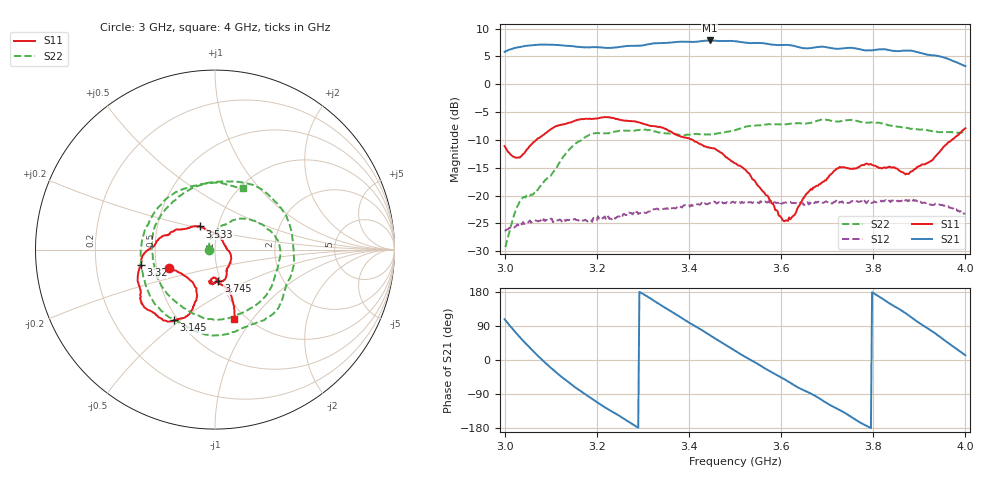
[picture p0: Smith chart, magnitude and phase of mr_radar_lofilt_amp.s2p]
!Agilent Technologies,E8358A,US40260201,A.04.06
!Agilent E8358A: A.04.06
!Date: Saturday, February 25, 2012 15:21:52
!Correction: S11(Full 2 Port SOLT,1,2) S21(Full 2 Port SOLT,1,2) S12(Full 2 Port SOLT,1,2) S22(Full 2 Port SOLT,1,2)
!S2P File: Measurements: S11, S21, S12, S22:
# Hz S  MA  R 50
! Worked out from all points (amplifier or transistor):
!   401 points, 3 GHz to 4 GHz, reference 50 ohm
!   highest |S21| = 7.9 dB at 3.445 GHz (marker M1)
!   |S21| within 3 dB of that: start of sweep to 3.951 GHz
!   unconditionally stable (mu >= 1): start of sweep to end of sweep
!   at 3.165 GHz: K = 2.75, MAG = 8.3 dB, |S12| = -24.4 dB
!   at 3.5 GHz: K = 2.12, MAG = 8.5 dB, |S12| = -21.3 dB
!   at 4 GHz: K = 3.47, MAG = 4.9 dB, |S12| = -23.2 dB
!   S11 on the Smith chart (normalised r, x): 3 GHz: 0.58, -0.13; 3.145 GHz: 0.47, -0.47; 3.32 GHz: 0.41, -0.08; 3.533 GHz: 0.82, +0.22; 3.745 GHz: 0.97, -0.35; 4 GHz: 0.88, -0.82
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3e9  0.2787 -158.1  1.958 107.6  0.04837 54.4  0.03524 -177.2
3.0325e9  0.2195 -124.8  2.159 60.9  0.05508 8.9  0.08805 96.9
3.0725e9  0.3283 -110.6  2.268 10.7  0.05868 -38.9  0.1138 83.0
3.1025e9  0.4002 -112.7  2.268 -22.9  0.06182 -73.3  0.1561 66.2
3.145e9  0.4564 -120.3  2.205 -64.9  0.06051 -111.5  0.2715 36.3
3.1675e9  0.4888 -126.4  2.154 -84.3  0.06045 -130.4  0.3181 20.4
3.2025e9  0.4949 -136.3  2.153 -112.9  0.06538 -156.7  0.3653 -5.9
3.255e9  0.4754 -150.5  2.181 -151.8  0.06454 164.1  0.3829 -48.0
3.32e9  0.4222 -168.4  2.32 159.9  0.07511 117.6  0.3819 -102.2
3.335e9  0.4145 -172.1  2.342 147.9  0.07479 105.9  0.3684 -116.2
3.39e9  0.3332 174.5  2.41 106.4  0.08211 67.9  0.3481 -175.3
3.445e9  0.2687 161.2  2.478 65.8  0.08591 27.6  0.3555 131.2
3.5e9  0.1956 143.4  2.438 24.3  0.08613 -12.8  0.3869 78.6
3.5325e9  0.1542 123.2  2.351 1.4  0.08721 -35.9  0.4233 53.3
3.6125e9  0.05972 23.7  2.26 -54.8  0.08665 -89.4  0.4382 -1.3
3.6675e9  0.1131 -44.1  2.127 -90.4  0.08415 -123.5  0.4541 -32.3
3.745e9  0.1762 -84.1  2.124 -144.6  0.08591 -176.0  0.4767 -84.7
3.8025e9  0.1856 -99.6  2.036 175.2  0.08875 143.4  0.4529 -129.8
3.835e9  0.1823 -96.3  2.029 149.6  0.09034 120.0  0.4262 -157.3
3.9075e9  0.1911 -83.5  1.893 91.9  0.08612 62.7  0.3926 134.1
3.96e9  0.2916 -70.6  1.704 47.3  0.08009 19.1  0.3726 92.2
4e9  0.4031 -74.9  1.457 12.4  0.06908 -14.4  0.376 65.9
